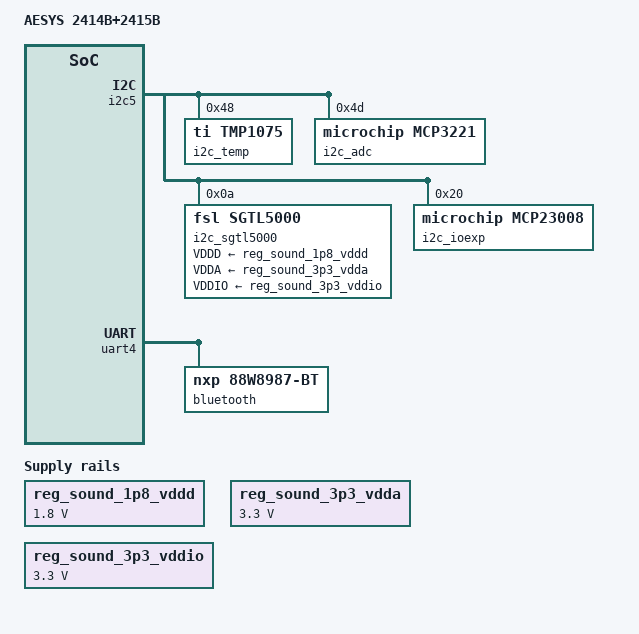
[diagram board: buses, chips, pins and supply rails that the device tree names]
// SPDX-License-Identifier: (GPL-2.0+ OR MIT)

/dts-v1/;

#include "aesys_2414_2g.dtsi"

/ {

	model = "AESYS 2414B+2415B";
	
    reg_sound_1p8_vddd: regulator-sound-1p8-vddd {
        compatible = "regulator-fixed";
        regulator-always-on;
        regulator-min-microvolt = <1800000>;
        regulator-max-microvolt = <1800000>;
        regulator-name = "SOUND_1P8_VDDD";
	};

    reg_sound_3p3_vdda: regulator-sound-3p3-vdda {
        compatible = "regulator-fixed";
        regulator-always-on;
        regulator-min-microvolt = <3300000>;
        regulator-max-microvolt = <3300000>;
        regulator-name = "SOUND_3P3_VDDA";
	};

    reg_sound_3p3_vddio: regulator-sound-3p3-vddio {
        compatible = "regulator-fixed";
        regulator-always-on;
        regulator-min-microvolt = <3300000>;
        regulator-max-microvolt = <3300000>;
        regulator-name = "SOUND_3P3_VDDIO";
	};

    sound-sgtl5000 {
        #address-cells = <1>;
	    #size-cells = <0>;

		compatible = "simple-audio-card";
		simple-audio-card,name = "SGTL5000-Card";
		simple-audio-card,format = "i2s";
		simple-audio-card,bitclock-master = <&cpu_dai>;
		simple-audio-card,frame-master = <&cpu_dai>;
		simple-audio-card,widgets = "Headphone", "Headphone Jack",
                                    "Lineout", "Lineout Jack";
		simple-audio-card,routing = "Headphone Jack", "HP_OUT",
                                    "Lineout Jack", "LINE_OUT";
        status = "okay";

		cpu_dai: simple-audio-card,cpu {
			sound-dai = <&sai1>;
		};

		codec_dai: simple-audio-card,codec {
			sound-dai = <&i2c_sgtl5000>;
            clocks = <&sai1 1>;
		};
	};
};

&i2c5 {
	i2c_temp: temp@48 {
		compatible = "ti,tmp1075";
		reg = <0x48>;
	};

	i2c_adc: adc@4d {
		compatible = "microchip,mcp3221";
		reg = <0x4d>;
	};

    i2c_sgtl5000: sgtl5000 {
        #sound-dai-cells = <0>;
		compatible = "fsl,sgtl5000";
		reg = <0x0a>;
		clocks = <&sai1 1>;
        VDDD-supply = <&reg_sound_1p8_vddd>;
        VDDA-supply = <&reg_sound_3p3_vdda>;
        VDDIO-supply = <&reg_sound_3p3_vddio>;
	};

    i2c_ioexp: ioexp@20 {
        #gpio-cells = <2>;
        compatible = "microchip,mcp23008";
        reg = <0x20>;
        gpio-controller;
    };
};

&usdhc1 {
    pinctrl-0 = <&pinctrl_usdhc1 &pinctrl_wifi_ble>;
	pinctrl-1 = <&pinctrl_usdhc1_100mhz &pinctrl_wifi_ble>;
	pinctrl-2 = <&pinctrl_usdhc1_200mhz &pinctrl_wifi_ble>;
    pinctrl-assert-gpios = <&gpio2 9 GPIO_ACTIVE_HIGH>;
    post-power-on-delay-ms = <120>;
    power-off-delay-us = <100000>;
    cap-sd-highspeed;
    cap-mmc-highspeed;
    sd-uhs-sdr12;
    sd-uhs-sdr25;
    sd-uhs-sdr50;
    sd-uhs-ddr50;
};

&uart4 {
    bluetooth {
        compatible = "nxp,88w8987-bt";
        fw-init-baudrate = <115200>;
    };
};

&iomuxc {
	pinctrl-names = "default";
	pinctrl-0 = <&pinctrl_emmc_gpios &pinctrl_pin_hwrev_gpios &pinctrl_pin_gpios &pinctrl_pin_gpios_2415>;

	pinctrl_pin_gpios_2415: pin_gpios_2415 {
		fsl,pins = <
		MX8MP_IOMUXC_SD1_DATA4__GPIO2_IO06       0x00000006   	// AUDIO_nMUTE_CTRL
		MX8MP_IOMUXC_SD1_DATA5__GPIO2_IO07		 0x00000006		// USB_HUB_SOFT_RESET
		MX8MP_IOMUXC_SD1_DATA6__GPIO2_IO08       0x00000006   	// LTE_nPWR_ON
		>;
	};

    pinctrl_wifi_ble: pin_wifi_ble {
        fsl,pins = <
        MX8MP_IOMUXC_SD1_DATA7__GPIO2_IO09       0x00000006   	// WIFI_BLE_nRESET
        >;
    };

	pinctrl_sound_wm8524: sound_wm8524_gpios {
		fsl,pins = <
		MX8MP_IOMUXC_SAI1_RXFS__GPIO4_IO00		0x00000006		// AUDIO_nMUTE
		>;
	};
};
